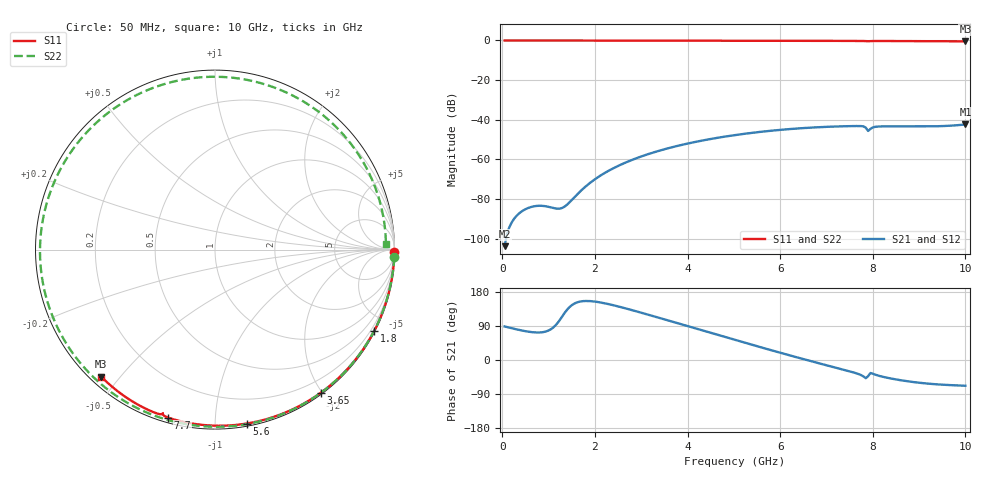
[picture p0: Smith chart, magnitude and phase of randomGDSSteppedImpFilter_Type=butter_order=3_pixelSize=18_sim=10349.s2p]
! freq	dB(S11)	phase(S11)	dB(S12)	phase(S12)
!  dB(S21)	phase(S21)	dB(S22)	phase(S22)
!S-par simulation data
#  GHz  S  DB  R 50
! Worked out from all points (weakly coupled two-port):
!   200 points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, 50 MHz to 10 GHz, reference 50 ohm
!   highest |S21| = -42.37 dB at 10 GHz (marker M1); lowest = -103.7 dB at 50 MHz (marker M2)
!   lowest |S11| = -0.4 dB at 10 GHz (marker M3), VSWR 39.12, Z = 1.53 - j22.3 ohm
!   |S11| at or under -10 dB: nowhere
!   |S22| runs from -0.4 to 0.0 dB; largest |S21 - S12| = 0
!   S11 on the Smith chart (normalised r, x): 50 MHz: open; 1.8 GHz: 0.04, -4.16; 3.65 GHz: 0.02, -1.98; 5.6 GHz: 0.02, -1.20; 7.7 GHz: 0.02, -0.76; 10 GHz: 0.03, -0.45
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0.05  -0.00 -0.8  -103.74 88.5  -103.74 88.5  -0.00 -2.4
0.7  -0.01 -10.6  -83.57 72.8  -83.57 72.8  -0.04 -33.0
1.1  -0.02 -16.6  -84.47 85.7  -84.47 85.7  -0.07 -51.2
1.5  -0.03 -22.6  -80.46 144.6  -80.46 144.6  -0.09 -68.6
1.75  -0.03 -26.3  -74.65 155.4  -74.65 155.4  -0.10 -79.1
1.8  -0.03 -27.0  -73.62 155.7  -73.62 155.7  -0.10 -81.2
2.45  -0.05 -36.5  -63.84 143.0  -63.84 143.0  -0.13 -106.8
3.4  -0.07 -50.1  -55.53 110.8  -55.53 110.8  -0.17 -140.8
3.65  -0.07 -53.6  -53.94 101.9  -53.94 101.9  -0.18 -149.3
4.35  -0.09 -63.1  -50.33 76.9  -50.33 76.9  -0.21 -172.3
5.05  -0.11 -72.5  -47.64 52.1  -47.64 52.1  -0.24 165.3
5.6  -0.13 -79.6  -46.02 33.0  -46.02 33.0  -0.27 147.8
6.2  -0.16 -87.2  -44.69 12.5  -44.69 12.5  -0.29 128.5
6.7  -0.18 -93.4  -43.90 -4.1  -43.90 -4.1  -0.31 112.2
7.2  -0.21 -99.5  -43.39 -20.2  -43.39 -20.2  -0.32 95.6
7.7  -0.25 -105.6  -43.15 -37.4  -43.15 -37.4  -0.33 78.7
7.8  -0.28 -107.0  -43.33 -43.5  -43.33 -43.5  -0.34 75.4
7.9  -0.39 -107.7  -45.64 -42.5  -45.64 -42.5  -0.34 72.0
8.05  -0.28 -109.2  -43.58 -38.5  -43.58 -38.5  -0.34 66.9
8.35  -0.29 -112.9  -43.30 -47.8  -43.30 -47.8  -0.35 56.7
9.2  -0.36 -122.7  -43.33 -62.4  -43.33 -62.4  -0.37 28.0
10  -0.44 -131.8  -42.37 -68.0  -42.37 -68.0  -0.42 2.0
